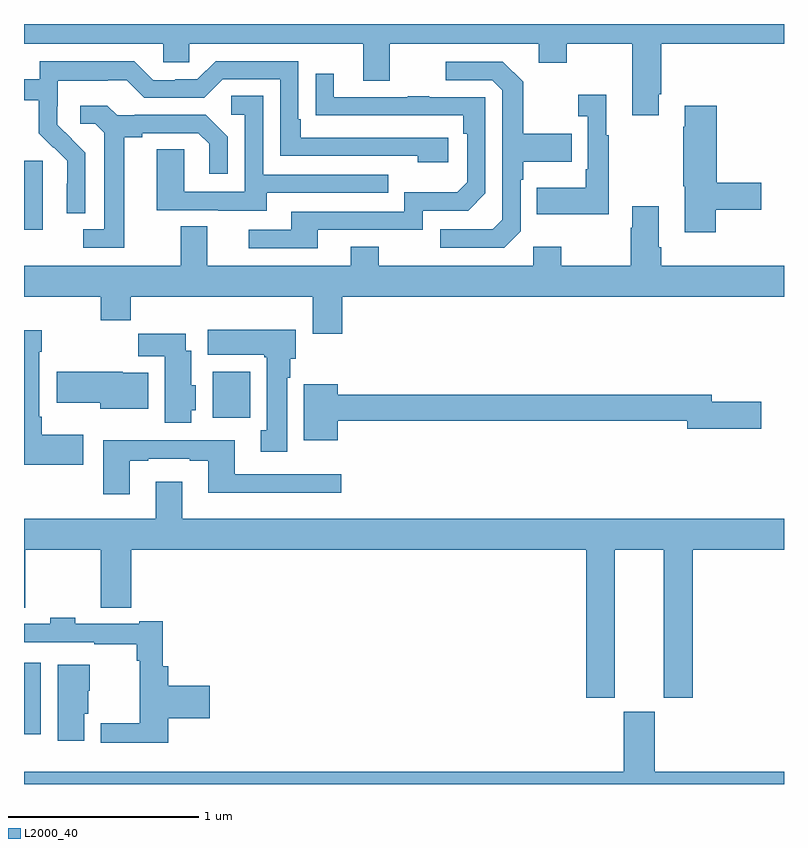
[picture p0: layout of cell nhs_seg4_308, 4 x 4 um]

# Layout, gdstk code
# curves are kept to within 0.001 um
import gdstk
lib = gdstk.Library(unit=1e-6, precision=1e-09)
def R(c, l, rs):  # rectangles x0, y0, x1, y1
    for r in rs: c.add(gdstk.rectangle(r[:2], r[2:], *l))
def P(c, l, *ps):  # polygons
    for p in ps: c.add(gdstk.Polygon(p, *l))
L2000_40 = (2000, 40)

nhs_seg4_308 = lib.new_cell('nhs_seg4_308')
R(nhs_seg4_308, L2000_40, [(125,817.161,125.089,817.537), (125.993,818.828,126.19,819.07), (125,819.818,125.098,820.179)])
P(nhs_seg4_308, L2000_40, [(128.341,820.531),(128.354,820.531),(128.354,820.796),(129,820.796),(129,820.9),(125,820.9),(125,820.796),(125.733,820.796),(125.733,820.698),(125.871,820.698),(125.871,820.796),(126.785,820.796),(126.785,820.602),(126.925,820.602),(126.925,820.796),(127.709,820.796),(127.709,820.697),(127.857,820.697),(127.857,820.796),(128.201,820.796),(128.201,820.419),(128.341,820.419)],
  [(125.322,820.222),(125.176,820.37),(125.176,820.467),(125.178,820.467),(125.178,820.601),(125.441,820.601),(125.441,820.605),(125.541,820.605),(125.634,820.512),(125.949,820.512),(126.045,820.608),(126.348,820.608),(126.348,820.206),(127.073,820.206),(127.073,820.172),(127.234,820.172),(127.234,820.302),(126.457,820.302),(126.457,820.399),(126.444,820.399),(126.444,820.704),(126.009,820.704),(125.913,820.608),(125.795,820.608),(125.795,820.605),(125.679,820.605),(125.579,820.705),(125.082,820.705),(125.082,820.608),(125,820.608),(125,820.5),(125.077,820.5),(125.077,820.325),(125.154,820.248),(125.157,820.251),(125.228,820.181),(125.228,820.058),(125.226,820.058),(125.226,819.904),(125.322,819.904)],
  [(127.614,819.81),(127.614,820.079),(127.627,820.079),(127.627,820.175),(127.883,820.175),(127.883,820.323),(127.627,820.323),(127.627,820.595),(127.521,820.701),(127.221,820.701),(127.221,820.605),(127.464,820.605),(127.518,820.551),(127.518,819.87),(127.467,819.819),(127.191,819.819),(127.191,819.723),(127.527,819.723)],
  [(126.547,819.816),(127.098,819.816),(127.098,819.918),(127.338,819.918),(127.428,820.008),(127.428,820.515),(127.133,820.515),(127.133,820.52),(127.021,820.52),(127.021,820.515),(126.631,820.515),(126.631,820.639),(126.535,820.639),(126.535,820.42),(127.312,820.419),(127.312,820.322),(127.332,820.322),(127.332,820.068),(127.279,820.015),(127.002,820.015),(127.002,819.912),(126.407,819.912),(126.407,819.816),(126.183,819.816),(126.183,819.72),(126.547,819.72)],
  [(128.077,820.315),(128.065,820.315),(128.065,820.528),(127.917,820.528),(127.917,820.415),(127.968,820.415),(127.968,820.135),(127.956,820.135),(127.956,820.039),(127.699,820.039),(127.699,819.899),(128.077,819.899)],
  [(126.277,820.011),(126.917,820.011),(126.917,820.107),(126.258,820.107),(126.258,820.523),(126.09,820.523),(126.09,820.422),(126.162,820.422),(126.162,820.017),(125.844,820.017),(125.844,820.241),(125.699,820.241),(125.699,819.921),(126.023,819.921),(126.023,819.917),(126.277,819.917)],
  [(125.527,820.304),(125.623,820.304),(125.623,820.326),(125.918,820.326),(125.975,820.269),(125.975,820.113),(126.072,820.113),(126.072,820.306),(125.956,820.422),(125.584,820.422),(125.584,820.419),(125.49,820.419),(125.438,820.471),(125.295,820.471),(125.295,820.374),(125.376,820.374),(125.423,820.327),(125.423,819.819),(125.313,819.819),(125.313,819.723),(125.527,819.723)],
  [(128.64,819.922),(128.881,819.922),(128.881,820.064),(128.645,820.064),(128.645,820.471),(128.477,820.471),(128.477,820.358),(128.47,820.358),(128.47,820.047),(128.477,820.047),(128.477,819.804),(128.64,819.804)],
  [(129,819.628),(128.354,819.628),(128.354,819.724),(128.341,819.724),(128.341,819.94),(128.201,819.94),(128.201,819.827),(128.194,819.827),(128.194,819.628),(127.827,819.628),(127.827,819.727),(127.68,819.727),(127.68,819.628),(126.867,819.628),(126.867,819.727),(126.719,819.727),(126.719,819.628),(125.965,819.628),(125.965,819.836),(125.825,819.836),(125.825,819.628),(125,819.628),(125,819.464),(125.405,819.464),(125.405,819.34),(125.561,819.34),(125.561,819.464),(126.521,819.464),(126.521,819.27),(126.674,819.27),(126.674,819.464),(129,819.464)],
  [(126.385,819.038),(126.4,819.038),(126.4,819.138),(126.43,819.138),(126.43,819.292),(125.966,819.292),(125.966,819.158),(126.265,819.158),(126.265,819.145),(126.278,819.145),(126.278,818.762),(126.245,818.762),(126.245,818.649),(126.385,818.649)],
  [(125.311,818.737),(125.093,818.737),(125.093,818.833),(125.08,818.833),(125.08,819.176),(125.093,819.176),(125.093,819.289),(125,819.289),(125,818.579),(125.311,818.579)],
  [(125.881,818.868),(125.905,818.868),(125.905,819),(125.881,819),(125.881,819.181),(125.851,819.181),(125.851,819.271),(125.602,819.271),(125.602,819.152),(125.741,819.152),(125.741,818.801),(125.881,818.801)],
  [(125.653,819.064),(125.52,819.064),(125.52,819.07),(125.172,819.07),(125.172,818.906),(125.402,818.906),(125.402,818.876),(125.653,818.876)],
  [(126.652,818.812),(128.492,818.812),(128.492,818.77),(128.881,818.77),(128.881,818.912),(128.62,818.912),(128.62,818.948),(126.652,818.948),(126.652,819.004),(126.473,819.004),(126.473,818.708),(126.652,818.708)],
  [(125.557,818.601),(125.653,818.601),(125.653,818.613),(125.873,818.613),(125.873,818.601),(125.969,818.601),(125.969,818.432),(126.67,818.432),(126.67,818.529),(126.109,818.529),(126.109,818.709),(125.649,818.709),(125.649,818.71),(125.417,818.71),(125.417,818.424),(125.557,818.424)],
  [(128.11,818.132),(128.366,818.132),(128.366,817.353),(128.519,817.353),(128.519,818.132),(129,818.132),(129,818.296),(125.833,818.296),(125.833,818.491),(125.693,818.491),(125.693,818.296),(125,818.296),(125,817.828),(125.006,817.828),(125.006,818.132),(125.404,818.132),(125.404,817.828),(125.564,817.828),(125.564,818.132),(127.958,818.132),(127.958,817.353),(128.11,817.353)],
  [(125.759,817.247),(125.977,817.247),(125.977,817.418),(125.759,817.418),(125.759,817.519),(125.729,817.519),(125.729,817.756),(125.606,817.756),(125.606,817.743),(125.271,817.743),(125.271,817.776),(125.139,817.776),(125.139,817.743),(125,817.743),(125,817.647),(125.371,817.647),(125.371,817.635),(125.593,817.635),(125.593,817.55),(125.608,817.55),(125.608,817.22),(125.403,817.22),(125.403,817.118),(125.759,817.118)],
  [(125.317,817.269),(125.338,817.269),(125.338,817.392),(125.347,817.392),(125.347,817.528),(125.177,817.528),(125.177,817.128),(125.317,817.128)],
  [(129,816.964),(128.32,816.964),(128.32,817.281),(128.156,817.281),(128.156,816.964),(125,816.964),(125,816.9),(129,816.9)])

lib.write_gds('nhs_seg4_308.gds')
